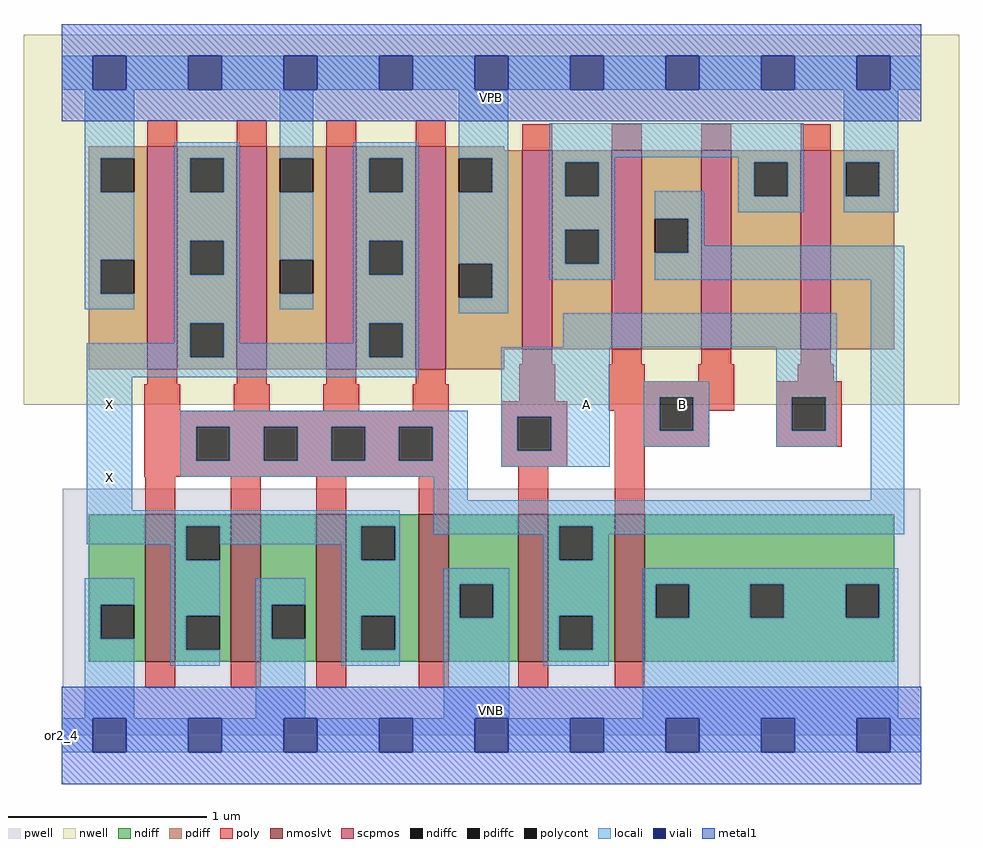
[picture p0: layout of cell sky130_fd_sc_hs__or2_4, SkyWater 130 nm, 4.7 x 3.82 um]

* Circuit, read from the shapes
.subckt sky130_fd_sc_hs__or2_4 A B VGND VNB VPB VPWR X
XM1 X n1 VGND VNB sky130_fd_pr__nfet_01v8_lvt w=0.74 l=0.15 m=4
XM2 n1 A VGND VNB sky130_fd_pr__nfet_01v8_lvt w=0.74 l=0.15
XM3 VGND B n1 VNB sky130_fd_pr__nfet_01v8_lvt w=0.74 l=0.15
XM4 X n1 VPWR VPB sky130_fd_pr__pfet_01v8 w=1.12 l=0.15 m=4
XM5 n2 A VPWR VPB sky130_fd_pr__pfet_01v8 w=1 l=0.15 m=2
XM6 n1 B n2 VPB sky130_fd_pr__pfet_01v8 w=1 l=0.15 m=2
.ends

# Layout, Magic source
magic
tech sky130A
magscale 1 2
<< nwell >>
rect -38 332 902 704
<< pwell >>
rect 1 49 863 248
rect 0 0 864 49
<< scpmos >>
rect 86 368 116 592
rect 176 368 206 592
rect 266 368 296 592
rect 356 368 386 592
rect 463 388 493 588
rect 553 388 583 588
rect 643 388 673 588
rect 743 388 773 588
<< nmoslvt >>
rect 84 74 114 222
rect 170 74 200 222
rect 256 74 286 222
rect 359 74 389 222
rect 459 74 489 222
rect 556 74 586 222
<< ndiff >>
rect 27 131 84 222
rect 27 97 39 131
rect 73 97 84 131
rect 27 74 84 97
rect 114 210 170 222
rect 114 176 125 210
rect 159 176 170 210
rect 114 120 170 176
rect 114 86 125 120
rect 159 86 170 120
rect 114 74 170 86
rect 200 131 256 222
rect 200 97 211 131
rect 245 97 256 131
rect 200 74 256 97
rect 286 210 359 222
rect 286 176 301 210
rect 335 176 359 210
rect 286 120 359 176
rect 286 86 301 120
rect 335 86 359 120
rect 286 74 359 86
rect 389 152 459 222
rect 389 118 400 152
rect 434 118 459 152
rect 389 74 459 118
rect 489 210 556 222
rect 489 176 500 210
rect 534 176 556 210
rect 489 120 556 176
rect 489 86 500 120
rect 534 86 556 120
rect 489 74 556 86
rect 586 152 837 222
rect 586 118 597 152
rect 631 118 692 152
rect 726 118 788 152
rect 822 118 837 152
rect 586 74 837 118
<< pdiff >>
rect 27 580 86 592
rect 27 546 39 580
rect 73 546 86 580
rect 27 478 86 546
rect 27 444 39 478
rect 73 444 86 478
rect 27 368 86 444
rect 116 580 176 592
rect 116 546 129 580
rect 163 546 176 580
rect 116 497 176 546
rect 116 463 129 497
rect 163 463 176 497
rect 116 414 176 463
rect 116 380 129 414
rect 163 380 176 414
rect 116 368 176 380
rect 206 580 266 592
rect 206 546 219 580
rect 253 546 266 580
rect 206 478 266 546
rect 206 444 219 478
rect 253 444 266 478
rect 206 368 266 444
rect 296 580 356 592
rect 296 546 309 580
rect 343 546 356 580
rect 296 497 356 546
rect 296 463 309 497
rect 343 463 356 497
rect 296 414 356 463
rect 296 380 309 414
rect 343 380 356 414
rect 296 368 356 380
rect 386 588 445 592
rect 386 580 463 588
rect 386 546 399 580
rect 433 546 463 580
rect 386 474 463 546
rect 386 440 399 474
rect 433 440 463 474
rect 386 388 463 440
rect 493 576 553 588
rect 493 542 506 576
rect 540 542 553 576
rect 493 508 553 542
rect 493 474 506 508
rect 540 474 553 508
rect 493 388 553 474
rect 583 519 643 588
rect 583 485 596 519
rect 630 485 643 519
rect 583 388 643 485
rect 673 576 743 588
rect 673 542 696 576
rect 730 542 743 576
rect 673 388 743 542
rect 773 576 837 588
rect 773 542 788 576
rect 822 542 837 576
rect 773 388 837 542
rect 386 368 445 388
<< ndiffc >>
rect 39 97 73 131
rect 125 176 159 210
rect 125 86 159 120
rect 211 97 245 131
rect 301 176 335 210
rect 301 86 335 120
rect 400 118 434 152
rect 500 176 534 210
rect 500 86 534 120
rect 597 118 631 152
rect 692 118 726 152
rect 788 118 822 152
<< pdiffc >>
rect 39 546 73 580
rect 39 444 73 478
rect 129 546 163 580
rect 129 463 163 497
rect 129 380 163 414
rect 219 546 253 580
rect 219 444 253 478
rect 309 546 343 580
rect 309 463 343 497
rect 309 380 343 414
rect 399 546 433 580
rect 399 440 433 474
rect 506 542 540 576
rect 506 474 540 508
rect 596 485 630 519
rect 696 542 730 576
rect 788 542 822 576
<< poly >>
rect 86 592 116 618
rect 176 592 206 618
rect 266 592 296 618
rect 356 592 386 618
rect 463 588 493 614
rect 553 588 583 614
rect 643 588 673 614
rect 743 588 773 614
rect 463 373 493 388
rect 553 373 583 388
rect 643 373 673 388
rect 743 373 773 388
rect 86 353 116 368
rect 176 353 206 368
rect 266 353 296 368
rect 356 353 386 368
rect 83 326 119 353
rect 173 326 209 353
rect 263 326 299 353
rect 353 326 389 353
rect 460 336 496 373
rect 550 356 586 373
rect 640 356 676 373
rect 740 356 776 373
rect 550 340 676 356
rect 83 310 389 326
rect 83 276 135 310
rect 169 276 203 310
rect 237 276 271 310
rect 305 276 339 310
rect 373 276 389 310
rect 83 260 389 276
rect 442 320 508 336
rect 550 326 601 340
rect 442 286 458 320
rect 492 286 508 320
rect 442 270 508 286
rect 556 306 601 326
rect 635 326 676 340
rect 718 340 784 356
rect 635 306 651 326
rect 556 290 651 306
rect 718 306 734 340
rect 768 306 784 340
rect 718 290 784 306
rect 84 222 114 260
rect 170 222 200 260
rect 256 222 286 260
rect 359 222 389 260
rect 459 222 489 270
rect 556 222 586 290
rect 84 48 114 74
rect 170 48 200 74
rect 256 48 286 74
rect 359 48 389 74
rect 459 48 489 74
rect 556 48 586 74
<< polycont >>
rect 135 276 169 310
rect 203 276 237 310
rect 271 276 305 310
rect 339 276 373 310
rect 458 286 492 320
rect 601 306 635 340
rect 734 306 768 340
<< locali >>
rect 0 649 31 683
rect 65 649 127 683
rect 161 649 223 683
rect 257 649 319 683
rect 353 649 415 683
rect 449 649 511 683
rect 545 649 607 683
rect 641 649 703 683
rect 737 649 799 683
rect 833 649 864 683
rect 23 580 73 649
rect 23 546 39 580
rect 23 478 73 546
rect 23 444 39 478
rect 23 428 73 444
rect 113 580 179 596
rect 113 546 129 580
rect 163 546 179 580
rect 113 497 179 546
rect 113 463 129 497
rect 163 463 179 497
rect 113 414 179 463
rect 219 580 253 649
rect 219 478 253 546
rect 219 428 253 444
rect 293 580 359 596
rect 293 546 309 580
rect 343 546 359 580
rect 293 497 359 546
rect 293 463 309 497
rect 343 463 359 497
rect 113 394 129 414
rect 25 380 129 394
rect 163 394 179 414
rect 293 414 359 463
rect 399 580 449 649
rect 433 546 449 580
rect 399 474 449 546
rect 433 440 449 474
rect 490 581 746 615
rect 490 576 556 581
rect 490 542 506 576
rect 540 542 556 576
rect 680 576 746 581
rect 490 508 556 542
rect 490 474 506 508
rect 540 474 556 508
rect 490 458 556 474
rect 596 519 646 547
rect 680 542 696 576
rect 730 542 746 576
rect 680 526 746 542
rect 786 576 841 649
rect 786 542 788 576
rect 822 542 841 576
rect 786 526 841 542
rect 630 492 646 519
rect 630 485 847 492
rect 596 458 847 485
rect 399 424 449 440
rect 293 394 309 414
rect 163 380 309 394
rect 343 380 359 414
rect 504 390 779 424
rect 25 360 359 380
rect 25 226 71 360
rect 119 310 408 326
rect 119 276 135 310
rect 169 276 203 310
rect 237 276 271 310
rect 305 276 339 310
rect 373 276 408 310
rect 119 260 408 276
rect 442 320 551 390
rect 442 286 458 320
rect 492 286 551 320
rect 585 340 651 356
rect 585 306 601 340
rect 635 306 651 340
rect 585 290 651 306
rect 718 340 779 390
rect 718 306 734 340
rect 768 306 779 340
rect 718 290 779 306
rect 442 270 551 286
rect 374 236 408 260
rect 813 236 847 458
rect 25 210 340 226
rect 25 192 125 210
rect 109 176 125 192
rect 159 192 301 210
rect 23 131 73 158
rect 23 97 39 131
rect 23 17 73 97
rect 109 120 159 176
rect 281 176 301 192
rect 335 176 340 210
rect 374 210 847 236
rect 374 202 500 210
rect 109 86 125 120
rect 109 70 159 86
rect 195 131 245 158
rect 195 97 211 131
rect 195 17 245 97
rect 281 120 340 176
rect 484 176 500 202
rect 534 202 847 210
rect 534 176 550 202
rect 281 86 301 120
rect 335 86 340 120
rect 281 70 340 86
rect 384 152 450 168
rect 384 118 400 152
rect 434 118 450 152
rect 384 17 450 118
rect 484 120 550 176
rect 484 86 500 120
rect 534 86 550 120
rect 484 70 550 86
rect 584 152 841 168
rect 584 118 597 152
rect 631 118 692 152
rect 726 118 788 152
rect 822 118 841 152
rect 584 17 841 118
rect 0 -17 31 17
rect 65 -17 127 17
rect 161 -17 223 17
rect 257 -17 319 17
rect 353 -17 415 17
rect 449 -17 511 17
rect 545 -17 607 17
rect 641 -17 703 17
rect 737 -17 799 17
rect 833 -17 864 17
<< viali >>
rect 31 649 65 683
rect 127 649 161 683
rect 223 649 257 683
rect 319 649 353 683
rect 415 649 449 683
rect 511 649 545 683
rect 607 649 641 683
rect 703 649 737 683
rect 799 649 833 683
rect 31 -17 65 17
rect 127 -17 161 17
rect 223 -17 257 17
rect 319 -17 353 17
rect 415 -17 449 17
rect 511 -17 545 17
rect 607 -17 641 17
rect 703 -17 737 17
rect 799 -17 833 17
<< metal1 >>
rect 0 683 864 715
rect 0 649 31 683
rect 65 649 127 683
rect 161 649 223 683
rect 257 649 319 683
rect 353 649 415 683
rect 449 649 511 683
rect 545 649 607 683
rect 641 649 703 683
rect 737 649 799 683
rect 833 649 864 683
rect 0 617 864 649
rect 0 17 864 49
rect 0 -17 31 17
rect 65 -17 127 17
rect 161 -17 223 17
rect 257 -17 319 17
rect 353 -17 415 17
rect 449 -17 511 17
rect 545 -17 607 17
rect 641 -17 703 17
rect 737 -17 799 17
rect 833 -17 864 17
rect 0 -49 864 -17
<< labels >>
rlabel comment s 0 0 0 0 4 or2_4
flabel pwell s 0 0 864 49 0 FreeSans 200 0 0 0 VNB
port 4 nsew ground bidirectional
flabel nwell s 0 617 864 666 0 FreeSans 200 0 0 0 VPB
port 5 nsew power bidirectional
flabel metal1 s 0 617 864 666 0 FreeSans 340 0 0 0 VPWR
port 6 nsew power bidirectional
flabel metal1 s 0 0 864 49 0 FreeSans 340 0 0 0 VGND
port 3 nsew ground bidirectional
flabel locali s 31 242 65 276 0 FreeSans 340 0 0 0 X
port 7 nsew signal output
flabel locali s 31 316 65 350 0 FreeSans 340 0 0 0 X
port 7 nsew signal output
flabel locali s 607 316 641 350 0 FreeSans 340 0 0 0 B
port 2 nsew signal input
flabel locali s 511 316 545 350 0 FreeSans 340 0 0 0 A
port 1 nsew signal input
<< properties >>
string LEFsite unit
string LEFclass CORE
string FIXED_BBOX 0 0 864 666
string GDS_FILE $PDKPATH/libs.ref/sky130_fd_sc_hs/gds/sky130_fd_sc_hs.gds
string LEFsymmetry X Y
string GDS_END 4012386
string GDS_START 4005070
<< end >>
